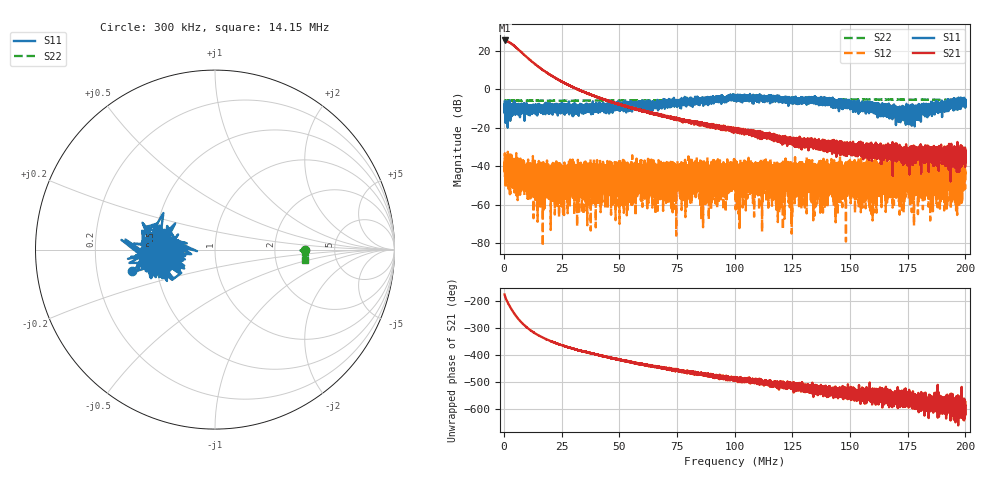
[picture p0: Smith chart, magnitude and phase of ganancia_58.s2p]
# Hz S DB R 50
! CMT, M5065, 19127446, 24.2.4/2
! Date: 10/29/2024 12:51:32 PM
! Data: Format (Calibration Info)
! Freq	S11:dB/Ang(F2)	S21:dB/Ang(F2)	S12:dB/Ang(F2)	S22:dB/Ang(F2)
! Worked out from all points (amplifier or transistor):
!   9000 points, 300 kHz to 200 MHz, reference 50 ohm
!   highest |S21| = 25.4 dB at 366.6 kHz (marker M1)
!   |S21| within 3 dB of that: start of sweep to 4.64 MHz
!   unconditionally stable (mu >= 1): start of sweep to end of sweep
!   at 33.59 MHz: K = 99.72, MAG = 1.0 dB, |S12| = -48.7 dB
!   at 100.2 MHz: K = 372.53, MAG = -17.4 dB, |S12| = -43.8 dB
!   at 200 MHz: K = 1649.90, MAG = -29.4 dB, |S12| = -43.9 dB
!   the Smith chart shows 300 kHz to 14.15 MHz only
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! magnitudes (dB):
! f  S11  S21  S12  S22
! 300 kHz  -6.4  25.4  -37.5  -6.0
! 366.6 kHz  -7.6  25.4  -42.3  -5.9
! 1.387 MHz  -7.7  25.0  -40.8  -6.0
! 13.77 MHz  -11.9  12.9  -47.6  -5.9
! 29.24 MHz  -11.0  1.6  -43.8  -5.9
! 31.46 MHz  -10.4  0.2  -47.4  -5.9
! 33.59 MHz  -9.7  -0.8  -48.7  -5.9
! 44.35 MHz  -9.9  -5.5  -40.9  -5.8
! 52.41 MHz  -8.6  -8.6  -45.3  -5.8
! 66.87 MHz  -7.2  -13.1  -40.9  -5.7
! 100.2 MHz  -3.8  -21.1  -43.8  -5.6
! 110.9 MHz  -3.8  -23.3  -46.0  -5.6
! 113.3 MHz  -4.7  -24.5  -43.7  -5.6
! 119.7 MHz  -4.6  -24.6  -43.7  -5.5
! 121.9 MHz  -6.5  -24.2  -42.9  -5.5
! 133.4 MHz  -4.9  -26.9  -44.2  -5.3
! 166.7 MHz  -8.5  -33.8  -43.0  -5.3
! 176.4 MHz  -9.4  -30.5  -49.8  -5.4
! 185 MHz  -12.0  -36.4  -43.5  -5.4
! 193.4 MHz  -8.7  -35.1  -57.2  -5.5
! 196.4 MHz  -5.7  -33.3  -65.4  -5.5
! 200 MHz  -5.5  -32.3  -43.9  -5.5
